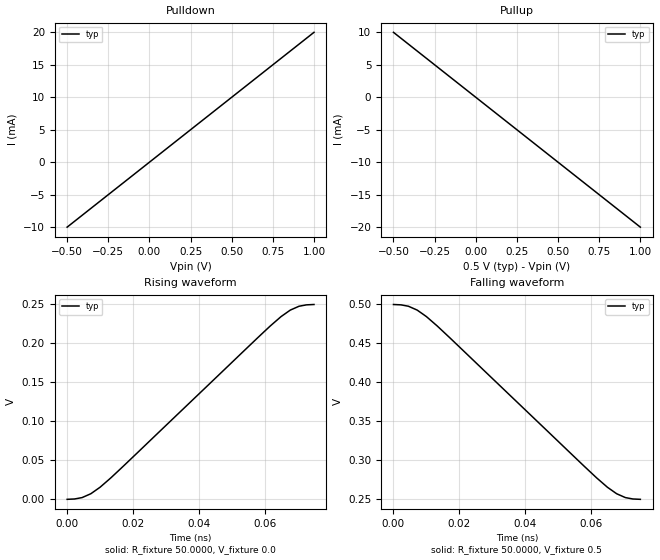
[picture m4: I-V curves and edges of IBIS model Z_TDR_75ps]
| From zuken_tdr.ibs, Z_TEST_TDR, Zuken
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|   Model Z_TDR_75ps  OUTPUT
[Model]   Z_TDR_75ps
Model_type  Output
Polarity   Non-Inverting
Vmeas =0.125V
Vref =0V
Rref =50
Cref =0pF
| variable   typ   min   max
C_comp   0.0   NA   NA
[Temperature Range]   50   NA   NA
[Voltage range]   0.5   NA   NA
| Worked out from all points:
|   slope of the pulldown table from 0 to 0.075 V, typ, clamps not added: 50 ohm
|   slope of the pullup table from 0 to 0.075 V, typ, clamps not added: 50 ohm
|   rising waveform, R_fixture 50.0000, V_fixture 0.0: 20-80 % time 37.1ps typ, NA min, NA max; typ from 0 V to 0.25 V
|   falling waveform, R_fixture 50.0000, V_fixture 0.5: 20-80 % time 37.1ps typ, NA min, NA max; typ from 0.5 V to 0.25 V
[Pullup]
|   Voltage   I(typ)   I(min)   I(max)
-500mV    10mA       NA         NA
1V        -20mA      NA         NA
[Pulldown]
|   Voltage   I(typ)   I(min)   I(max)
-500mV    -10mA      NA         NA
1V        20mA       NA         NA
[GND Clamp]
|   Voltage   I(typ)   I(min)   I(max)
-500mV    0A         NA         NA
1V        0A         NA         NA
[POWER Clamp]
|   Voltage   I(typ)   I(min)   I(max)
-500mV    0A         NA         NA
1V        0A         NA         NA
[ramp]
| variable   typ   min   max
dV/dt_r   0.15/45ps   NA   NA
dV/dt_f   0.15/45ps   NA   NA
[Rising Waveform]
R_fixture=   50.0000
V_fixture=   0.0
V_fixture_min=  0.0
V_fixture_max=  0.0
|time   V(typ)   V(min)   V(max)
0s        0V         NA         NA
4.544ps   2.234mV    NA         NA
7.201ps   7.173mV    NA         NA
10.01ps   15.52mV    NA         NA
17.11ps   42.66mV    NA         NA
57.89ps   207.3mV    NA         NA
64.99ps   234.5mV    NA         NA
67.8ps    242.8mV    NA         NA
70.46ps   247.8mV    NA         NA
75ps      250mV      NA         NA
[Falling Waveform]
R_fixture=   50.0000
V_fixture=   0.5
V_fixture_min=  0.5
V_fixture_max=  0.5
|time   V(typ)   V(min)   V(max)
0s        500mV      NA         NA
4.544ps   497.8mV    NA         NA
7.201ps   492.8mV    NA         NA
10.01ps   484.5mV    NA         NA
17.11ps   457.3mV    NA         NA
57.89ps   292.7mV    NA         NA
64.99ps   265.5mV    NA         NA
67.8ps    257.2mV    NA         NA
70.46ps   252.2mV    NA         NA
75ps      250mV      NA         NA
